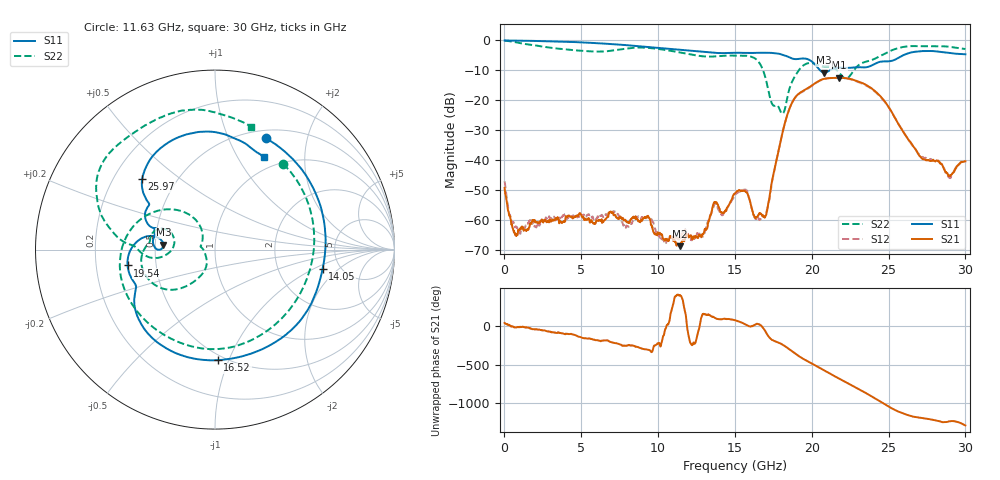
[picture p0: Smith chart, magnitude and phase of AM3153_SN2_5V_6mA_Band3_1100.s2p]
!Agilent Technologies,E8364B,MY43040894,A.07.50.67
!Agilent E8364B: A.07.50.67
!Date: Wednesday, May 13, 2020 06:23:54
!Correction: S11(Full 2 Port(1,2))
!S21(Full 2 Port(1,2))
!S12(Full 2 Port(1,2))
!S22(Full 2 Port(1,2))
!S2P File: Measurements: S11, S21, S12, S22:
# Hz S  dB  R 50
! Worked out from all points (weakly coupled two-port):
!   1601 points, 10 MHz to 30 GHz, reference 50 ohm
!   highest |S21| = -12.52 dB at 21.77 GHz (marker M1); lowest = -68.6 dB at 11.41 GHz (marker M2)
!   lowest |S11| = -10.8 dB at 20.8 GHz (marker M3), VSWR 1.81, Z = 27.7 + j1.6 ohm
!   |S11| at or under -10 dB: 20.53 GHz to 21.2 GHz (664.7 MHz wide, 3.19 % of centre)
!   |S22| runs from -24.5 to -0.1 dB; largest |S21 - S12| = 0.0068
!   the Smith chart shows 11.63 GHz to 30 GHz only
!   S11 on the Smith chart (normalised r, x): 11.63 GHz: 0.60, +1.39; 14.05 GHz: 3.66, -1.24; 16.52 GHz: 0.46, -0.91; 19.54 GHz: 0.34, -0.08; 25.97 GHz: 0.32, +0.37; 30 GHz: 0.83, +1.29
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1e7  -0.09 -1.9  -49.24 39.5  -46.96 0.4  -0.14 -4.8
1.265831e9  -0.19 -35.7  -63.30 -14.3  -63.45 -30.9  -1.21 -80.2
2.7091e9  -0.33 -74.6  -60.45 -65.6  -59.11 -63.0  -2.30 -155.4
5.014581e9  -0.74 -132.0  -58.50 -147.7  -58.17 -144.1  -3.53 97.9
6.701519e9  -1.21 -171.1  -58.89 176.6  -57.99 158.5  -3.65 -0.1
7.938606e9  -1.65 160.4  -60.48 105.2  -61.76 105.1  -2.80 -91.5
8.950769e9  -2.10 136.2  -60.20 69.0  -59.02 71.7  -2.44 -163.4
1.001916e10  -2.58 109.6  -64.21 135.6  -65.11 -2.3  -2.92 133.7
1.14062e10  -3.22 71.9  -68.63 36.3  -66.63 164.9  -4.08 62.7
1.163112e10  -3.32 65.2  -66.67 -51.5  -64.33 -172.1  -4.28 51.5
1.404907e10  -4.31 -10.1  -57.25 88.2  -57.77 79.8  -5.27 -70.4
1.5005e10  -4.18 -40.9  -51.02 75.4  -51.49 79.7  -5.14 -120.4
1.652324e10  -4.21 -88.5  -58.35 24.3  -59.14 20.8  -7.10 156.6
1.706681e10  -4.18 -105.1  -57.33 -97.1  -56.85 -101.3  -14.18 122.8
1.807898e10  -4.80 -137.6  -31.13 121.6  -31.16 121.1  -24.50 -161.2
1.954099e10  -6.11 -169.7  -16.59 -74.8  -16.78 -74.6  -8.11 -151.0
2.000958e10  -7.12 174.7  -15.09 -125.4  -15.23 -124.4  -7.61 -170.8
2.079682e10  -10.80 174.7  -12.89 146.3  -12.95 147.4  -8.73 172.9
2.177149e10  -9.15 172.1  -12.52 41.3  -12.52 41.9  -10.76 157.5
2.501416e10  -7.03 145.4  -22.34 38.1  -22.37 41.2  -3.85 165.0
2.597009e10  -4.97 136.0  -30.63 -51.8  -30.56 -49.9  -2.24 148.0
3e10  -4.69 62.3  -40.37 154.7  -39.82 157.9  -2.92 73.7
